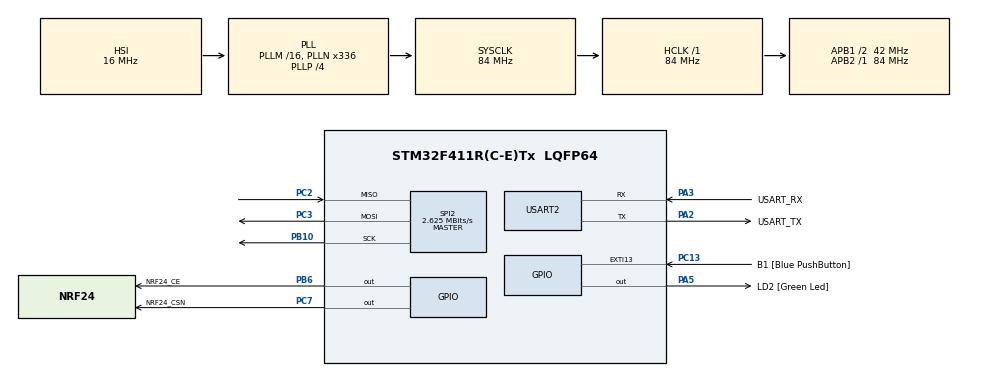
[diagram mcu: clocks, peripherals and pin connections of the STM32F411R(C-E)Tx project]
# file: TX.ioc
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Mcu.Family=STM32F4
Mcu.Name=STM32F411R(C-E)Tx
Mcu.Package=LQFP64
NVIC.EXTI15_10_IRQn=true\:0\:0\:false\:false\:true\:true\:true\:true
NVIC.PriorityGroup=NVIC_PRIORITYGROUP_0
PA13.GPIO_Label=TMS
PA13.Mode=Serial_Wire
PA13.Signal=SYS_JTMS-SWDIO
PA14.GPIO_Label=TCK
PA14.Mode=Serial_Wire
PA14.Signal=SYS_JTCK-SWCLK
PA2.GPIO_Label=USART_TX
PA2.Mode=Asynchronous
PA2.Signal=USART2_TX
PA3.GPIO_Label=USART_RX
PA3.Mode=Asynchronous
PA3.Signal=USART2_RX
PA5.GPIO_Label=LD2 [Green Led]
PA5.Signal=GPIO_Output
PA9.GPIO_Label=NRF24_IRQ
PA9.Signal=EVENTOUT
PB10.Mode=Full_Duplex_Master
PB10.Signal=SPI2_SCK
PB3.GPIO_Label=SWO
PB3.Signal=SYS_JTDO-SWO
PB6.GPIO_Label=NRF24_CE
PB6.Signal=GPIO_Output
PC13-ANTI_TAMP.GPIO_Label=B1 [Blue PushButton]
PC13-ANTI_TAMP.GPIO_ModeDefaultEXTI=GPIO_MODE_IT_FALLING
PC13-ANTI_TAMP.Signal=GPXTI13
PC14-OSC32_IN.Mode=LSE-External-Oscillator
PC14-OSC32_IN.Signal=RCC_OSC32_IN
PC15-OSC32_OUT.Mode=LSE-External-Oscillator
PC15-OSC32_OUT.Signal=RCC_OSC32_OUT
PC2.Mode=Full_Duplex_Master
PC2.Signal=SPI2_MISO
PC3.Mode=Full_Duplex_Master
PC3.Signal=SPI2_MOSI
PC7.GPIO_Label=NRF24_CSN
PC7.Signal=GPIO_Output
PH0\ -\ OSC_IN.Mode=HSE-External-Clock-Source
PH0\ -\ OSC_IN.Signal=RCC_OSC_IN
PH1\ -\ OSC_OUT.Mode=HSE-External-Clock-Source
PH1\ -\ OSC_OUT.Signal=RCC_OSC_OUT
ProjectManager.HeapSize=0x200
ProjectManager.StackSize=0x400
ProjectManager.TargetToolchain=STM32CubeIDE
RCC.48MHZClocksFreq_Value=84000000
RCC.AHBFreq_Value=84000000
RCC.APB1CLKDivider=RCC_HCLK_DIV2
RCC.APB1Freq_Value=42000000
RCC.APB1TimFreq_Value=84000000
RCC.APB2Freq_Value=84000000
RCC.APB2TimFreq_Value=84000000
RCC.CortexFreq_Value=84000000
RCC.FLatency-AdvancedSettings=FLASH_LATENCY_2
RCC.HCLKFreq_Value=84000000
RCC.HSE_VALUE=8000000
RCC.HSI_VALUE=16000000
RCC.PLLN=336
RCC.PLLP=RCC_PLLP_DIV4
RCC.SYSCLKFreq_VALUE=84000000
RCC.SYSCLKSource=RCC_SYSCLKSOURCE_PLLCLK
RCC.VCOOutputFreq_Value=336000000
SPI2.BaudRatePrescaler=SPI_BAUDRATEPRESCALER_16
SPI2.CalculateBaudRate=2.625 MBits/s
SPI2.Direction=SPI_DIRECTION_2LINES
SPI2.Mode=SPI_MODE_MASTER
SPI2.VirtualType=VM_MASTER
USART2.VirtualMode=VM_ASYNC
board=NUCLEO-F411RE

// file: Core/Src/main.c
/* USER CODE BEGIN Header */
/**
  ******************************************************************************
  * @file           : main.c
  * @brief          : Main program body
  ******************************************************************************
  * @attention
  *
  * Copyright (c) 2023 STMicroelectronics.
  * All rights reserved.
  *
  * This software is licensed under terms that can be found in the LICENSE file
  * in the root directory of this software component.
  * If no LICENSE file comes with this software, it is provided AS-IS.
  *
  ******************************************************************************
  */
/* USER CODE END Header */
#include "main.h"
#include "spi.h"
#include "usart.h"
#include "gpio.h"

/* USER CODE BEGIN Includes */
#include "nRF24_Defs.h"
#include "nRF24.h"
#define BUTTON_DEBOUNCE_TIME 250
/* USER CODE END Includes */

/* USER CODE BEGIN PTD */
//UART///
int __io_putchar(int ch){
  if (ch == '\n') {
    __io_putchar('\r');
  }
  HAL_UART_Transmit(&huart2, (uint8_t*)&ch, 1, HAL_MAX_DELAY);
  return 1;
}

/* USER CODE END PTD */

/* USER CODE BEGIN PV */
volatile uint8_t nrf24_rx_flag, nrf24_tx_flag, nrf24_mr_flag;
uint8_t Nrf24_Message[NRF24_PAYLOAD_SIZE];
uint8_t Message[32];
uint8_t MessageLength;

uint32_t previous_time = 0;
uint32_t current_time = 0;
uint32_t button_caputered = 0;

void HAL_GPIO_EXTI_Callback(uint16_t GPIO_Pin)
{
    current_time = HAL_GetTick();						//time reading
    if((GPIO_Pin == B1_Pin) && (current_time - previous_time)>BUTTON_DEBOUNCE_TIME)
    {
    	button_caputered = 1;
    }
    previous_time = current_time;						//previous time assignment
}

uint8_t message[32];
void send_light(uint8_t data)
{
    sprintf(message, "%d", data);
    nRF24_WriteTXPayload(message);
    HAL_Delay(1);
    nRF24_WaitTX();
}

/* USER CODE END PV */

void SystemClock_Config(void);

int main(void)
{

  /* MCU Configuration--------------------------------------------------------*/

  /* Reset of all peripherals, Initializes the Flash interface and the Systick. */
  HAL_Init();

  /* Configure the system clock */
  SystemClock_Config();

  /* Initialize all configured peripherals */
  MX_GPIO_Init();
  MX_USART2_UART_Init();
  MX_SPI2_Init();
  /* USER CODE BEGIN 2 */
  nRF24_Init(&hspi2);
  nRF24_SetRXAddress(0, "Nad");
  nRF24_SetTXAddress("Odb");
  nRF24_TX_Mode();
  uint8_t i;
  /* USER CODE END 2 */

  /* Infinite loop */
  while (1)
  {

    /* USER CODE BEGIN 3 */
	  for(i=0; i<5; i++)
	  {
		  //check captured of button
		  if(button_caputered == 1){
			//temporary value to send
			uint8_t tmp = 9;
			send_light(tmp);
			button_caputered = 0;
		  }
		  MessageLength = sprintf(Message, "%d", i );
		  nRF24_WriteTXPayload(Message);
		  HAL_Delay(1);
		  nRF24_WaitTX();
		  HAL_Delay(1000);
	  }

  }
  /* USER CODE END 3 */
}

void SystemClock_Config(void)
{
  RCC_OscInitTypeDef RCC_OscInitStruct = {0};
  RCC_ClkInitTypeDef RCC_ClkInitStruct = {0};

  /** Configure the main internal regulator output voltage
  */
  __HAL_RCC_PWR_CLK_ENABLE();
  __HAL_PWR_VOLTAGESCALING_CONFIG(PWR_REGULATOR_VOLTAGE_SCALE1);

  /** Initializes the RCC Oscillators according to the specified parameters
  * in the RCC_OscInitTypeDef structure.
  */
  RCC_OscInitStruct.OscillatorType = RCC_OSCILLATORTYPE_HSI;
  RCC_OscInitStruct.HSIState = RCC_HSI_ON;
  RCC_OscInitStruct.HSICalibrationValue = RCC_HSICALIBRATION_DEFAULT;
  RCC_OscInitStruct.PLL.PLLState = RCC_PLL_ON;
  RCC_OscInitStruct.PLL.PLLSource = RCC_PLLSOURCE_HSI;
  RCC_OscInitStruct.PLL.PLLM = 16;
  RCC_OscInitStruct.PLL.PLLN = 336;
  RCC_OscInitStruct.PLL.PLLP = RCC_PLLP_DIV4;
  RCC_OscInitStruct.PLL.PLLQ = 4;
  if (HAL_RCC_OscConfig(&RCC_OscInitStruct) != HAL_OK)
  {
    Error_Handler();
  }

  /** Initializes the CPU, AHB and APB buses clocks
  */
  RCC_ClkInitStruct.ClockType = RCC_CLOCKTYPE_HCLK|RCC_CLOCKTYPE_SYSCLK
                              |RCC_CLOCKTYPE_PCLK1|RCC_CLOCKTYPE_PCLK2;
  RCC_ClkInitStruct.SYSCLKSource = RCC_SYSCLKSOURCE_PLLCLK;
  RCC_ClkInitStruct.AHBCLKDivider = RCC_SYSCLK_DIV1;
  RCC_ClkInitStruct.APB1CLKDivider = RCC_HCLK_DIV2;
  RCC_ClkInitStruct.APB2CLKDivider = RCC_HCLK_DIV1;

  if (HAL_RCC_ClockConfig(&RCC_ClkInitStruct, FLASH_LATENCY_2) != HAL_OK)
  {
    Error_Handler();
  }
}

void Error_Handler(void)
{
  __disable_irq();
  while (1)
  {
  }
}
